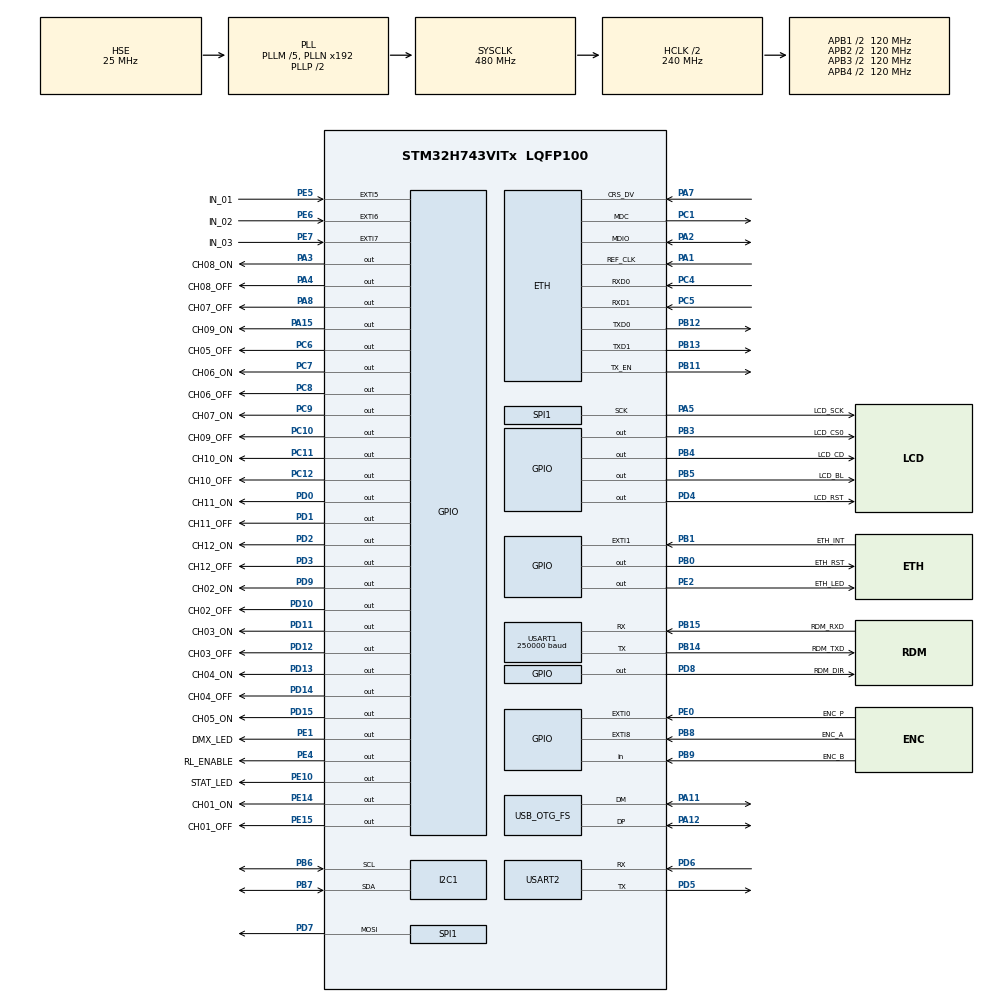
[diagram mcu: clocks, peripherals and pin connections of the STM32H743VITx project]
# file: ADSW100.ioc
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CORTEX_M7.AccessPermission_S-Cortex_Memory_Protection_Unit_Region1_Settings_S=MPU_REGION_FULL_ACCESS
CORTEX_M7.AccessPermission_S-Cortex_Memory_Protection_Unit_Region2_Settings_S=MPU_REGION_FULL_ACCESS
CORTEX_M7.AccessPermission_Spec=MPU_REGION_FULL_ACCESS
CORTEX_M7.BaseAddress_S-Cortex_Memory_Protection_Unit_Region1_Settings_S=0x30000000
CORTEX_M7.BaseAddress_S-Cortex_Memory_Protection_Unit_Region2_Settings_S=0x38000000
CORTEX_M7.BaseAddress_Spec=0x0
CORTEX_M7.CPU_DCache=Disabled
CORTEX_M7.CPU_ICache=Disabled
CORTEX_M7.DisableExec_S-Cortex_Memory_Protection_Unit_Region1_Settings_S=MPU_INSTRUCTION_ACCESS_DISABLE
CORTEX_M7.DisableExec_S-Cortex_Memory_Protection_Unit_Region2_Settings_S=MPU_INSTRUCTION_ACCESS_DISABLE
CORTEX_M7.DisableExec_Spec=MPU_INSTRUCTION_ACCESS_ENABLE
CORTEX_M7.Enable_S-Cortex_Memory_Protection_Unit_Region1_Settings_S=MPU_REGION_ENABLE
CORTEX_M7.Enable_S-Cortex_Memory_Protection_Unit_Region2_Settings_S=MPU_REGION_ENABLE
CORTEX_M7.IsBufferable_S-Cortex_Memory_Protection_Unit_Region1_Settings_S=MPU_ACCESS_NOT_BUFFERABLE
CORTEX_M7.IsBufferable_Spec=MPU_ACCESS_NOT_BUFFERABLE
CORTEX_M7.IsCacheable_S-Cortex_Memory_Protection_Unit_Region1_Settings_S=MPU_ACCESS_NOT_CACHEABLE
CORTEX_M7.IsCacheable_Spec=MPU_ACCESS_CACHEABLE
CORTEX_M7.IsShareable_S-Cortex_Memory_Protection_Unit_Region1_Settings_S=MPU_ACCESS_SHAREABLE
CORTEX_M7.IsShareable_S-Cortex_Memory_Protection_Unit_Region2_Settings_S=MPU_ACCESS_SHAREABLE
CORTEX_M7.IsShareable_Spec=MPU_ACCESS_NOT_SHAREABLE
CORTEX_M7.MPU_Control=__NULL
CORTEX_M7.Size_S-Cortex_Memory_Protection_Unit_Region1_Settings_S=MPU_REGION_SIZE_512KB
CORTEX_M7.Size_S-Cortex_Memory_Protection_Unit_Region2_Settings_S=MPU_REGION_SIZE_64KB
CORTEX_M7.Size_Spec=MPU_REGION_SIZE_4GB
CORTEX_M7.SubRegionDisable_Spec=0x0
CORTEX_M7.TypeExtField_S-Cortex_Memory_Protection_Unit_Region1_Settings_S=MPU_TEX_LEVEL1
CORTEX_M7.TypeExtField_S-Cortex_Memory_Protection_Unit_Region2_Settings_S=MPU_TEX_LEVEL1
CORTEX_M7.TypeExtField_Spec=MPU_TEX_LEVEL1
CORTEX_M7.default_mode_Activation=1
ETH.MediaInterface=HAL_ETH_RMII_MODE
I2C1.Timing=0x307075B1
IWDG1.Prescaler=IWDG_PRESCALER_64
IWDG1.Reload=1000
LWIP.BSP.number=1
LWIP.LWIP_ICMP=1
LWIP.LWIP_IGMP=1
LWIP.LWIP_MULTICAST_TX_OPTIONS=1
LWIP.LWIP_NETIF_STATUS_CALLBACK=1
LWIP.LWIP_RAM_HEAP_POINTER=0x30006000
LWIP.Version=v2.2.1_Cube
LWIP0.BSP.STBoard=false
LWIP0.BSP.api=BSP_COMPONENT_DRIVER
LWIP0.BSP.component=USER_PHY
LWIP0.BSP.instance=USER_PHY
LWIP0.BSP.name=Driver_PHY
LWIP0.BSP.semaphore=S_USER_PHY
LWIP0.BSP.solution=USER_PHY
Mcu.Family=STM32H7
Mcu.Name=STM32H743VITx
Mcu.Package=LQFP100
NVIC.ETH_IRQn=true\:0\:0\:false\:false\:true\:true\:true\:true
NVIC.OTG_FS_IRQn=true\:0\:0\:false\:false\:true\:false\:true\:true
NVIC.PriorityGroup=NVIC_PRIORITYGROUP_4
NVIC.TIM6_DAC_IRQn=true\:0\:0\:false\:false\:true\:true\:true\:true
NVIC.USART1_IRQn=true\:0\:0\:false\:false\:true\:true\:true\:true
PA1.GPIO_Speed=GPIO_SPEED_FREQ_VERY_HIGH
PA1.Mode=RMII
PA1.Signal=ETH_REF_CLK
PA11.Mode=Device_Only
PA11.Signal=USB_OTG_FS_DM
PA12.Mode=Device_Only
PA12.Signal=USB_OTG_FS_DP
PA13\ (JTMS/SWDIO).Mode=Serial_Wire
PA13\ (JTMS/SWDIO).Signal=DEBUG_JTMS-SWDIO
PA14\ (JTCK/SWCLK).Mode=Serial_Wire
PA14\ (JTCK/SWCLK).Signal=DEBUG_JTCK-SWCLK
PA15\ (JTDI).GPIO_Label=CH09_ON
PA15\ (JTDI).Signal=GPIO_Output
PA2.GPIO_Speed=GPIO_SPEED_FREQ_VERY_HIGH
PA2.Mode=RMII
PA2.Signal=ETH_MDIO
PA3.GPIO_Label=CH08_ON
PA3.Signal=GPIO_Output
PA4.GPIO_Label=CH08_OFF
PA4.Signal=GPIO_Output
PA5.GPIO_Label=LCD_SCK
PA5.Mode=TX_Only_Simplex_Unidirect_Master
PA5.Signal=SPI1_SCK
PA7.GPIO_Speed=GPIO_SPEED_FREQ_VERY_HIGH
PA7.Mode=RMII
PA7.Signal=ETH_CRS_DV
PA8.GPIO_Label=CH07_OFF
PA8.Signal=GPIO_Output
PB0.GPIO_Label=ETH_RST
PB0.PinState=GPIO_PIN_SET
PB0.Signal=GPIO_Output
PB1.GPIO_Label=ETH_INT
PB1.GPIO_ModeDefaultEXTI=GPIO_MODE_IT_FALLING
PB1.GPIO_PuPd=GPIO_PULLUP
PB1.Signal=GPXTI1
PB11.GPIO_Speed=GPIO_SPEED_FREQ_VERY_HIGH
PB11.Mode=RMII
PB11.Signal=ETH_TX_EN
PB12.GPIO_Speed=GPIO_SPEED_FREQ_VERY_HIGH
PB12.Mode=RMII
PB12.Signal=ETH_TXD0
PB13.GPIO_Speed=GPIO_SPEED_FREQ_VERY_HIGH
PB13.Mode=RMII
PB13.Signal=ETH_TXD1
PB14.GPIO_Label=RDM_TXD
PB14.Mode=Asynchronous
PB14.Signal=USART1_TX
PB15.GPIO_Label=RDM_RXD
PB15.Mode=Asynchronous
PB15.Signal=USART1_RX
PB3\ (JTDO/TRACESWO).GPIO_Label=LCD_CS0
PB3\ (JTDO/TRACESWO).Signal=GPIO_Output
PB4\ (NJTRST).GPIO_Label=LCD_CD
PB4\ (NJTRST).Signal=GPIO_Output
PB5.GPIO_Label=LCD_BL
PB5.Signal=GPIO_Output
PB6.Mode=I2C
PB6.Signal=I2C1_SCL
PB7.Mode=I2C
PB7.Signal=I2C1_SDA
PB8.GPIO_Label=ENC_A
PB8.GPIO_ModeDefaultEXTI=GPIO_MODE_IT_FALLING
PB8.GPIO_PuPd=GPIO_PULLUP
PB8.Signal=GPXTI8
PB9.GPIO_Label=ENC_B
PB9.Signal=GPIO_Input
PC1.GPIO_Speed=GPIO_SPEED_FREQ_VERY_HIGH
PC1.Mode=RMII
PC1.Signal=ETH_MDC
PC10.GPIO_Label=CH09_OFF
PC10.Signal=GPIO_Output
PC11.GPIO_Label=CH10_ON
PC11.Signal=GPIO_Output
PC12.GPIO_Label=CH10_OFF
PC12.Signal=GPIO_Output
PC4.GPIO_Speed=GPIO_SPEED_FREQ_VERY_HIGH
PC4.Mode=RMII
PC4.Signal=ETH_RXD0
PC5.GPIO_Speed=GPIO_SPEED_FREQ_VERY_HIGH
PC5.Mode=RMII
PC5.Signal=ETH_RXD1
PC6.GPIO_Label=CH05_OFF
PC6.Signal=GPIO_Output
PC7.GPIO_Label=CH06_ON
PC7.Signal=GPIO_Output
PC8.GPIO_Label=CH06_OFF
PC8.Signal=GPIO_Output
PC9.GPIO_Label=CH07_ON
PC9.Signal=GPIO_Output
PD0.GPIO_Label=CH11_ON
PD0.Signal=GPIO_Output
PD1.GPIO_Label=CH11_OFF
PD1.Signal=GPIO_Output
PD10.GPIO_Label=CH02_OFF
PD10.Signal=GPIO_Output
PD11.GPIO_Label=CH03_ON
PD11.Signal=GPIO_Output
PD12.GPIO_Label=CH03_OFF
PD12.Signal=GPIO_Output
PD13.GPIO_Label=CH04_ON
PD13.Signal=GPIO_Output
PD14.GPIO_Label=CH04_OFF
PD14.Signal=GPIO_Output
PD15.GPIO_Label=CH05_ON
PD15.Signal=GPIO_Output
PD2.GPIO_Label=CH12_ON
PD2.Signal=GPIO_Output
PD3.GPIO_Label=CH12_OFF
PD3.Signal=GPIO_Output
PD4.GPIO_Label=LCD_RST
PD4.Signal=GPIO_Output
PD5.Mode=Asynchronous
PD5.Signal=USART2_TX
PD6.Mode=Asynchronous
PD6.Signal=USART2_RX
PD7.Mode=TX_Only_Simplex_Unidirect_Master
PD7.Signal=SPI1_MOSI
PD8.GPIO_Label=RDM_DIR
PD8.Signal=GPIO_Output
PD9.GPIO_Label=CH02_ON
PD9.Signal=GPIO_Output
PE0.GPIO_Label=ENC_P
PE0.GPIO_ModeDefaultEXTI=GPIO_MODE_IT_FALLING
PE0.GPIO_PuPd=GPIO_PULLUP
PE0.Signal=GPXTI0
PE1.GPIO_Label=DMX_LED
PE1.Signal=GPIO_Output
PE10.GPIO_Label=STAT_LED
PE10.Signal=GPIO_Output
PE14.GPIO_Label=CH01_ON
PE14.Signal=GPIO_Output
PE15.GPIO_Label=CH01_OFF
PE15.Signal=GPIO_Output
PE2.GPIO_Label=ETH_LED
PE2.Signal=GPIO_Output
PE4.GPIO_Label=RL_ENABLE
PE4.Signal=GPIO_Output
PE5.GPIO_Label=IN_01
PE5.Signal=GPXTI5
PE6.GPIO_Label=IN_02
PE6.Signal=GPXTI6
PE7.GPIO_Label=IN_03
PE7.Signal=GPXTI7
PH0-OSC_IN\ (PH0).Mode=HSE-External-Oscillator
PH0-OSC_IN\ (PH0).Signal=RCC_OSC_IN
PH1-OSC_OUT\ (PH1).Mode=HSE-External-Oscillator
PH1-OSC_OUT\ (PH1).Signal=RCC_OSC_OUT
ProjectManager.HeapSize=0x200
ProjectManager.StackSize=0x400
ProjectManager.TargetToolchain=STM32CubeIDE
RCC.ADCFreq_Value=50390625
RCC.APB1Freq_Value=120000000
RCC.APB2Freq_Value=120000000
RCC.APB3Freq_Value=120000000
RCC.APB4Freq_Value=120000000
RCC.CortexFreq_Value=480000000
RCC.D1PPRE=RCC_APB3_DIV2
RCC.D2PPRE1=RCC_APB1_DIV2
RCC.D2PPRE2=RCC_APB2_DIV2
RCC.D3PPRE=RCC_APB4_DIV2
RCC.DIVM1=5
RCC.DIVN1=192
RCC.DIVQ1=15
RCC.HCLKFreq_Value=240000000
RCC.HPRE=RCC_HCLK_DIV2
RCC.PLL2FRACN=0
RCC.PLL3FRACN=0
RCC.PLLFRACN=0
RCC.PLLSourceVirtual=RCC_PLLSOURCE_HSE
RCC.SYSCLKFreq_VALUE=480000000
RCC.SYSCLKSource=RCC_SYSCLKSOURCE_PLLCLK
RCC.USBCLockSelection=RCC_USBCLKSOURCE_HSI48
RCC.USBFreq_Value=48000000
SPI1.BaudRatePrescaler=SPI_BAUDRATEPRESCALER_4
SPI1.CRCCalculation=SPI_CRCCALCULATION_DISABLE
SPI1.CalculateBaudRate=16.0 MBits/s
SPI1.DataSize=SPI_DATASIZE_8BIT
SPI1.Direction=SPI_DIRECTION_2LINES_TXONLY
SPI1.Mode=SPI_MODE_MASTER
SPI1.NSSPMode=SPI_NSS_PULSE_ENABLE
SPI1.VirtualType=VM_MASTER
TIM6.Period=999
TIM6.Prescaler=239
USART1.BaudRate=250000
USART1.Parity=PARITY_NONE
USART1.StopBits=STOPBITS_2
USART1.VirtualMode-Asynchronous=VM_ASYNC
USART1.WordLength=WORDLENGTH_8B
USART2.VirtualMode-Asynchronous=VM_ASYNC
USB_DEVICE.CLASS_NAME_FS=CDC
USB_DEVICE.VirtualMode-CDC_FS=Cdc
USB_DEVICE.VirtualModeFS=Cdc_FS
USB_OTG_FS.VirtualMode=Device_Only
VP_IWDG1_VS_IWDG.Mode=IWDG_Activate
VP_LWIP_VS_Enabled.Mode=Enabled
VP_MEMORYMAP_VS_MEMORYMAP.Mode=CurAppReg
VP_RTC_VS_RTC_Activate.Mode=RTC_Enabled
VP_TIM6_VS_ClockSourceINT.Mode=Enable_Timer
VP_USB_DEVICE_VS_USB_DEVICE_CDC_FS.Mode=CDC_FS
board=custom

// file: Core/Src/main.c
/* USER CODE BEGIN Header */
/**
  ******************************************************************************
  * @file           : main.c
  * @brief          : Main program body
  ******************************************************************************
  * @attention
  *
  * Copyright (c) 2025 STMicroelectronics.
  * All rights reserved.
  *
  * This software is licensed under terms that can be found in the LICENSE file
  * in the root directory of this software component.
  * If no LICENSE file comes with this software, it is provided AS-IS.
  *
  ******************************************************************************
  */
/* USER CODE END Header */
#include "main.h"
#include "i2c.h"
#include "iwdg.h"
#include "lwip.h"
#include "rtc.h"
#include "spi.h"
#include "tim.h"
#include "usart.h"
#include "usb_device.h"
#include "gpio.h"

/* USER CODE BEGIN Includes */
#include "defs.h"
#include "h_files.h"
#include "lwip/ip4_addr.h"
#include "stm32h7xx_hal_eth.h"

#include <stdio.h>

#ifndef ETH_MAC_ADDRESS0
#define ETH_MAC_ADDRESS0 0U
#endif

/* USER CODE END Includes */

/* USER CODE BEGIN PV */
volatile bool timer_1ms_flag = false;

extern ETH_HandleTypeDef heth;			// handle ETH generato da Cube

extern volatile uint8_t g_use_dhcp;		// definita in network.c

extern struct netif gnetif;

static uint32_t lcd_inactivity_s = 0;

extern ETH_DMADescTypeDef DMARxDscrTab[ETH_RX_DESC_CNT];
extern u8_t memp_memory_RX_POOL_base[];

/* USER CODE END PV */

void SystemClock_Config(void);

/* USER CODE BEGIN 0 */

static void MPU_Config(void)
{
    MPU_Region_InitTypeDef MPU_InitStruct = {0};

    /* Disabilita MPU prima di configurare */
    HAL_MPU_Disable();

    /* --- REGIONE 0: D1 SRAM (0x24000000, 512KB) - cacheable -------------------- */
    MPU_InitStruct.Enable           = MPU_REGION_ENABLE;
    MPU_InitStruct.Number           = MPU_REGION_NUMBER0;
    MPU_InitStruct.BaseAddress      = 0x24000000;
    MPU_InitStruct.Size             = MPU_REGION_SIZE_512KB;
    MPU_InitStruct.SubRegionDisable = 0x00;
    MPU_InitStruct.TypeExtField     = MPU_TEX_LEVEL1;   // Normal memory
    MPU_InitStruct.AccessPermission = MPU_REGION_FULL_ACCESS;
    MPU_InitStruct.DisableExec      = MPU_INSTRUCTION_ACCESS_ENABLE;
    MPU_InitStruct.IsShareable      = MPU_ACCESS_NOT_SHAREABLE;
    MPU_InitStruct.IsCacheable      = MPU_ACCESS_CACHEABLE;
    MPU_InitStruct.IsBufferable     = MPU_ACCESS_BUFFERABLE;
    HAL_MPU_ConfigRegion(&MPU_InitStruct);

    /* --- REGIONE 1: D2 SRAM (0x30000000, 256KB) - NON CACHEABLE (ETH/DMA) ------ */
    MPU_InitStruct.Enable           = MPU_REGION_ENABLE;
    MPU_InitStruct.Number           = MPU_REGION_NUMBER1;
    MPU_InitStruct.BaseAddress      = 0x30000000;
    MPU_InitStruct.Size             = MPU_REGION_SIZE_256KB;  // SRAM1+SRAM2
    MPU_InitStruct.SubRegionDisable = 0x00;
    MPU_InitStruct.TypeExtField     = MPU_TEX_LEVEL1;   // Normal memory
    MPU_InitStruct.AccessPermission = MPU_REGION_FULL_ACCESS;
    MPU_InitStruct.DisableExec      = MPU_INSTRUCTION_ACCESS_ENABLE;
    MPU_InitStruct.IsShareable      = MPU_ACCESS_SHAREABLE;
    MPU_InitStruct.IsCacheable      = MPU_ACCESS_NOT_CACHEABLE;
    MPU_InitStruct.IsBufferable     = MPU_ACCESS_NOT_BUFFERABLE;
    HAL_MPU_ConfigRegion(&MPU_InitStruct);

    /* --- REGIONE 2: D3 SRAM (0x38000000, 64KB) - NON CACHEABLE (.noinit, ecc.) -- */
    MPU_InitStruct.Enable           = MPU_REGION_ENABLE;
    MPU_InitStruct.Number           = MPU_REGION_NUMBER2;
    MPU_InitStruct.BaseAddress      = 0x38000000;
    MPU_InitStruct.Size             = MPU_REGION_SIZE_64KB;   // D3 SRAM = 64KB
    MPU_InitStruct.SubRegionDisable = 0x00;
    MPU_InitStruct.TypeExtField     = MPU_TEX_LEVEL1;   // Normal memory
    MPU_InitStruct.AccessPermission = MPU_REGION_FULL_ACCESS;
    MPU_InitStruct.DisableExec      = MPU_INSTRUCTION_ACCESS_ENABLE;
    MPU_InitStruct.IsShareable      = MPU_ACCESS_SHAREABLE;
    MPU_InitStruct.IsCacheable      = MPU_ACCESS_NOT_CACHEABLE;
    MPU_InitStruct.IsBufferable     = MPU_ACCESS_NOT_BUFFERABLE;
    HAL_MPU_ConfigRegion(&MPU_InitStruct);

    /* Abilita MPU con default privilegiato */
    HAL_MPU_Enable(MPU_PRIVILEGED_DEFAULT);
}

const char *ResetTag_ToString(reset_tag_t tag)
{
    switch (tag) {
    case RST_TAG_NONE:       return "None";
    case RST_TAG_HARDFAULT:  return "HardFault";
    case RST_TAG_MEMFAULT:   return "MemFault";
    case RST_TAG_BUSFAULT:   return "BusFault";
    case RST_TAG_USAGEFAULT: return "UsageFault";
    case RST_TAG_HFR:        return "HardFactoryReset";
    case RST_TAG_ERRORH:     return "Error_Handler";
    default:                 return "Unknown";
    }
}

reset_tag_t ResetTag_Read(void)
{
    uint32_t raw = RTC->BKP0R;
    if (raw > RST_TAG_ERRORH) return RST_TAG_NONE;
    return (reset_tag_t)raw;
}

void ResetTag_Write(reset_tag_t tag)
{
    RTC->BKP0R = (uint32_t)tag;
    __DSB();
    __ISB();
}

reset_crash_info_t ResetTag_ReadCrashInfo(void)
{
    reset_crash_info_t info;
    info.pc = RTC->BKP1R;   // PC salvato
    info.lr = RTC->BKP2R;   // LR salvato
    return info;
}

void ResetTag_ClearCrashInfo(void)
{
    RTC->BKP1R = 0;
    RTC->BKP2R = 0;
    __DSB();
    __ISB();
}

void ResetTag_SaveCrashInfo(uint32_t pc, uint32_t lr)
{
    RTC->BKP1R = pc;
    RTC->BKP2R = lr;
    __DSB();
    __ISB();
}

static int is_plausible_eui48(const uint8_t *m)
{
    uint8_t acc_or = 0, acc_and = 0xFF;

    for (int i=0; i<6; i++)
    {
    	acc_or |= m[i];
    	acc_and &= m[i];
    }

    if (acc_or == 0x00 || acc_and == 0xFF) return 0;  // tutti 00 o tutti FF
    if (m[0] & 0x01) return 0;                        // deve essere unicast
    return 1;
}

static int is_plausible_eui64(const uint8_t *v)
{
    uint8_t acc_or = 0, acc_and = 0xFF;

    for (int i=0;i<8;i++)
    {
    	acc_or |= v[i];
    	acc_and &= v[i];
    }

    if (acc_or == 0x00 || acc_and == 0xFF) return 0;  // tutti 00 o tutti FF
    return 1; // accetta sia canonical (…FF:FE…) sia non-canonical
}

/* Diagnostica boot: sola RAM, nessuna modifica a protezione o EEPROM. */
typedef struct
{
    uint32_t reset, vtor, msp, mask, control, ipsr;
    uint32_t error, state, lock, isr, cr1, lines;
    HAL_StatusTypeDef magic_status, config_status;
    uint16_t magic;
    uint8_t stage, mac_source;
    bool magic_attempted, config_attempted;
} startup_diagnostic_t;
static startup_diagnostic_t startup_diag;

/* Main prima di HAL_Init; SystemInit e startup C sono già stati eseguiti. */
static void Startup_RecordEntry(void)
{
    startup_diag.reset = RCC->RSR;
    startup_diag.vtor = SCB->VTOR;
    startup_diag.msp = __get_MSP();
    startup_diag.mask = __get_PRIMASK() | (__get_BASEPRI() << 8);
    startup_diag.control = __get_CONTROL();
    startup_diag.ipsr = __get_IPSR();
}

/* CDC anche nel blocco di avvio: nessun I/O I2C, solo esiti già acquisiti.
   Stage:0 ingresso main,1 check HW,2 lettura INIT,3 INIT valido,4 token,5 I/O,6 attesa finale. */
void Startup_FormatDiagnostics(char *out, size_t capacity)
{
    char magic[5] = "----";
    if (startup_diag.magic_attempted && startup_diag.magic_status == HAL_OK)
    {
        snprintf(magic, sizeof magic, "%04X", startup_diag.magic);
    }
    snprintf(out, capacity, "boot stage=%u rc=%d magic=%s cfg=%d mac=%u brand_ram=%u reset=%08lX VTOR=%08lX MSP=%08lX mask=%08lX control=%lX ipsr=%lu hal=%lX lock=%lu err=%lX ISR=%08lX CR1=%08lX lines=%lu\r\n",
             startup_diag.stage, startup_diag.magic_attempted ? (int)startup_diag.magic_status : -1,
             magic, startup_diag.config_attempted ? (int)startup_diag.config_status : -1,
             startup_diag.mac_source, brand, (unsigned long)startup_diag.reset,
             (unsigned long)startup_diag.vtor, (unsigned long)startup_diag.msp,
             (unsigned long)startup_diag.mask, (unsigned long)startup_diag.control,
             (unsigned long)startup_diag.ipsr, (unsigned long)startup_diag.state,
             (unsigned long)startup_diag.lock, (unsigned long)startup_diag.error,
             (unsigned long)startup_diag.isr, (unsigned long)startup_diag.cr1, (unsigned long)startup_diag.lines);
}

void hardware_check(void)
{
	uint8_t e48[6] = {0};
	uint8_t e64[8] = {0};
	uint8_t mac[6];

	USB_Printf("\r\n=== Hardware Check ===\r\n");

    startup_diag.stage = 1;
    EE_BusScan();     // mostra i device sul bus
    EE_DumpTail();    // dump 0xF0..0xFF per diagnosi rapida

    // 1) Ping EEPROM I2C (indirizzo 7-bit definito in EE_I2C_ADDR_7B)

    if (HAL_I2C_IsDeviceReady(&hi2c1, EE_I2C_ADDR_7B << 1, 2, 10) != HAL_OK)
    {
        USB_Printf("EEPROM: NOT FOUND at 0x%02X\n", EE_I2C_ADDR_7B);
        USB_Printf("=== End HW Check ===\n");
        return;
    }
    USB_Printf("EEPROM: found at 0x%02X\n", EE_I2C_ADDR_7B);

    // 2) Rilevamento EUI: prima E48 (0xFA..0xFF), poi E64 (0xF8..0xFF)

    int have_e48 = (EE_Read(0xFA, e48, 6) == HAL_OK) && is_plausible_eui48(e48);
    int have_e64 = (EE_Read(0xF8, e64, 8) == HAL_OK) && is_plausible_eui64(e64);

    startup_diag.mac_source = have_e48 ? 1 : have_e64 ? 2 : 3;
    if (have_e48)
    {
        USB_Printf("EEPROM 24AA025E48: OK (EUI-48 @0xFA)\n");
        USB_Printf("EUI-48: %02X-%02X-%02X-%02X-%02X-%02X\n",
                   e48[0],e48[1],e48[2],e48[3],e48[4],e48[5]);
    }
    else if (have_e64)
    {
        USB_Printf("EEPROM 24AA02E64: OK (EUI-64 @0xF8)\n");
        USB_Printf("EUI-64: %02X-%02X-%02X-%02X-%02X-%02X-%02X-%02X\n",
                   e64[0],e64[1],e64[2],e64[3],e64[4],e64[5],e64[6],e64[7]);
    }
    else
    {
        USB_Printf("EEPROM: no EUI found (neither E48 nor E64 plausible)\n");
    }

    // 3) MAC-48 locale per la NIC (preferisci E48; se assente, E64 derivato; altrimenti LAA)

    if (EE_GetLocalMAC48(mac) == HAL_OK)
    {
        USB_Printf("MAC-48 (source: %s): %02X:%02X:%02X:%02X:%02X:%02X\n",
                   have_e48 ? "E48" : (have_e64 ? "E64-derived" : "LAA"),
                   mac[0],mac[1],mac[2],mac[3],mac[4],mac[5]);
    }
    else
    {
        USB_Printf("MAC-48: ERROR (no valid source)\n");
    }

    // 4) Config EEPROM

    startup_diag.config_attempted = true;
    startup_diag.config_status = EE_LoadConfig();
    if (startup_diag.config_status == HAL_OK)
    {
        USB_Printf("Configuration loaded\n");
    }
    else
    {
        USB_Printf("EE_LoadConfig FAILED\n");
    }

    // NFC test

    /* NFC avviato dopo identità RDM; nessuna lettura JSON legacy. */

    LAN9303_DumpLedCfg();

    USB_Printf("=== End HW Check ===\n");
}

void LCD_Backlight_Wake(void)
{
    lcd_inactivity_s = 0;
    HAL_GPIO_WritePin(LCD_BL_GPIO_Port, LCD_BL_Pin, GPIO_PIN_SET);
}

void LCD_Backlight_Service(void)
{
    // Se modalità "sempre accesa"
    if (lcd_backlight > 0)
    {
        HAL_GPIO_WritePin(LCD_BL_GPIO_Port, LCD_BL_Pin, GPIO_PIN_SET);
        lcd_inactivity_s = 0;
        return;
    }

    // Modalità auto-off
    if (lcd_inactivity_s >= 30)
    {
        HAL_GPIO_WritePin(LCD_BL_GPIO_Port, LCD_BL_Pin, GPIO_PIN_RESET); // spegni
    }
    else
    {
        HAL_GPIO_WritePin(LCD_BL_GPIO_Port, LCD_BL_Pin, GPIO_PIN_SET);   // accesa
        lcd_inactivity_s++;
    }
}

void task_1ms(void)
{
	static uint16_t counter_10ms = 0, link_tick_100ms = 0, counter_3s = 0, counter_1s;
	static uint16_t iwdg_div = 0;

	HAL_GPIO_TogglePin(RL_ENABLE_GPIO_Port, RL_ENABLE_Pin);  // Toggle pin watchdog 74LVC1G123

	RelayTask();
	EncoderTask();
	NetworkTask();

    if (++counter_10ms >= 10)
    {
    	counter_10ms = 0;
    	UserInterfaceTask();

    }

	if (++link_tick_100ms >= 100)
	{
		link_tick_100ms = 0;
		Network_LinkCheck_100ms();
	}

    if (++counter_1s >= 1000)
    {
        counter_1s = 0;

        //RTC_ShowTime_OnLCD();

        //NFC_Service();

        LCD_Backlight_Service();

        // --- Stato rete corrente: SOLO da LAN9303 (PHY), non da netif ---
        extern int32_t LAN9303_GetLinkState(void);

        int32_t st = LAN9303_GetLinkState();

        bool link_up = false;

        switch (st)
        {
            case USER_PHY_STATUS_100MBITS_FULLDUPLEX:
            case USER_PHY_STATUS_100MBITS_HALFDUPLEX:
            case USER_PHY_STATUS_10MBITS_FULLDUPLEX:
            case USER_PHY_STATUS_10MBITS_HALFDUPLEX:
                link_up = true;
                break;

            case USER_PHY_STATUS_LINK_DOWN:
            case USER_PHY_STATUS_AUTONEGO_NOTDONE:
            case USER_PHY_STATUS_READ_ERROR:
            case USER_PHY_STATUS_WRITE_ERROR:
            case USER_PHY_STATUS_ADDRESS_ERROR:
            case USER_PHY_STATUS_RESET_TIMEOUT:
            case USER_PHY_STATUS_ERROR:
            default:
                link_up = false;
                break;
        }

        uint32_t ip_be = netif_ip4_addr(&gnetif)->addr;   // formato big-endian

        // Cache per evitare ridisegni inutili
        static bool     prev_link = false;
        static uint32_t prev_ip   = 0;

        if (link_up != prev_link || ip_be != prev_ip)
        {
            UI_OnNetRuntime(link_up, ip_be);
            prev_link = link_up;
            prev_ip   = ip_be;
        }

        Network_DiagTick_1s();
    }

	if (++counter_3s >= 3000)
	{
		counter_3s = 0;
		LAN9303_Port0RxErrorsDelta();
	}
	// ===== Refresh IWDG ogni ~100ms =====
	    if (++iwdg_div >= 100)    // 100 chiamate * 1ms = 100ms
	    {
	        iwdg_div = 0;
	        HAL_IWDG_Refresh(&hiwdg1);
	    }
}

// Inizializza il sistema
// Reset esplicito: true preserva identità di fabbrica; NTAG riallineato ai default utente.
void HardFactoryReset(bool preserve_identity)
{
    // 1) EEPROM ai default
    if (EE_InitWithNfc(preserve_identity) == HAL_OK)
        USB_Printf("HFR: EEPROM defaults OK\r\n");
    else
    {
        USB_Printf("HFR: EE_InitMemory() FAILED\r\n");
        return;
    }

    // 2) Ricarica i default in RAM soltanto dopo lettura verificata.
    if (EE_LoadConfig() != HAL_OK)
    {
        USB_Printf("HFR: EEPROM reload FAILED\r\n");
        return;
    }

    /* Il servizio NFC completerà dopo reboot l’intento Init persistente,
       senza cancellare contenuti estranei o modificare UID/lock. */

    USB_Printf("HFR: completed, system will reboot now...\r\n");
    HAL_Delay(100);

    ResetTag_Write(RST_TAG_HFR);

    HAL_Delay(10);

    NVIC_SystemReset();
}

/* ========== Unlock nuovo dispositivo (FGM+MAC) ========== */

static void mac_to_hex_nosep(const uint8_t mac[6], char out[13])
{
  static const char H[] = "0123456789ABCDEF";
  for (int i=0; i<6; i++)
  {
    out[i*2+0] = H[(mac[i]>>4) & 0xF];
    out[i*2+1] = H[ mac[i]     & 0xF];
  }
  out[12] = 0;
}

/* Ritorna 1 = ok (prosegui boot), 0 = bloccato */
static int Startup_SimpleUnlock(void)
{
  /* EE_ReadU16 confonde un errore I/O con il valore0: qui serve l'esito HAL.
     Un bus illeggibile non autorizza provisioning, reset o scritture EEPROM. */
  uint8_t init[2] = {0};
  startup_diag.stage = 2;
  startup_diag.magic_attempted = true;
  startup_diag.magic_status = EE_Read(EE_OFFS_INIT, init, sizeof init);
  startup_diag.magic = (uint16_t)((uint16_t)init[0] << 8 | init[1]);
  startup_diag.error = hi2c1.ErrorCode;
  startup_diag.state = HAL_I2C_GetState(&hi2c1);
  startup_diag.lock = hi2c1.Lock;
  startup_diag.isr = hi2c1.Instance->ISR;
  startup_diag.cr1 = hi2c1.Instance->CR1;
  startup_diag.lines = (GPIOB->IDR >> 6) & 3u;
  if (startup_diag.magic_status != HAL_OK)
  {
    startup_diag.stage = 5;
    LCD_Clear();
    LCD_DrawText("EEPROM read error", 0, 20, 0, 0, 0);
    USB_Printf("EEPROM read failed: rc=%u; boot? / i2c? / ee?\r\n", startup_diag.magic_status);
    while (1)
    {
      char diagnostic_line[160];
      HAL_IWDG_Refresh(&hiwdg1);
      /* Solo query diagnostiche gestite dal reader; nessun token è applicato. */
      (void)USB_ReadLineTimeout(diagnostic_line, sizeof diagnostic_line, 50);
    }
  }
  if (startup_diag.magic == EE_INIT_VALUE)
  {
    startup_diag.stage = 3;
    return 1;
  }
  startup_diag.stage = 4;

  /* calcola stringa attesa: "FGM" + MAChex */
  uint8_t mac[6]; EE_GetLocalMAC48(mac);
  char mac_hex[13]; mac_to_hex_nosep(mac, mac_hex);

  char expected[4+12]; /* "FGM" + 12 */
  expected[0]='F'; expected[1]='G'; expected[2]='M'; expected[3]=0;
  strcat(expected, mac_hex);

  /* UX: messaggi */
  USB_Printf("\r\n=== Bootloader Ready ===\r\n");
  USB_Printf("wait for boot sequence:\r\n");
  USB_Printf("  %s\r\n", mac_hex);

  LCD_Clear();
  LCD_DrawText(Brand_Current()->manufacturer, 0, 0, 0, 0, 0);
  LCD_DrawText("Wait for boot", 0, 20, 0, 0, 0);

  /* aspetta una riga per 30s */
  extern int USB_ReadLineTimeout(char *out, size_t maxlen, uint32_t timeout_ms);
  char line[128];
  uint32_t t0 = HAL_GetTick();
  while ((HAL_GetTick() - t0) < 30000U)
  {
    HAL_IWDG_Refresh(&hiwdg1);

    int n = USB_ReadLineTimeout(line, sizeof(line), 50);
    if (n > 0)
    {
      while (n>0 && (line[n-1]==' ')) { line[--n]=0; }
      char *p = line; while (*p==' ') p++;

      if (strcmp(p, expected) == 0)
      {
        HardFactoryReset(false);
        USB_Printf("Unlock FAILED: factory reset returned without reboot.\r\n");
        return 0;
      }
      else
      {
        USB_Printf("Bad token");
      }
    }
  }

  /* timeout -> fermo in attesa firmware */
  startup_diag.stage = 6;
  USB_Printf("Ready for firmware\r\n");
  while (1)
  {
	  HAL_IWDG_Refresh(&hiwdg1);
    char diagnostic_line[160];
    (void)USB_ReadLineTimeout(diagnostic_line, sizeof diagnostic_line, 50);
    /* aggiungere qui eventuale bootloader/DFU */
  }
  /* never */
  // return 0;
}

void HAL_TIM_PeriodElapsedCallback(TIM_HandleTypeDef *htim)
{
    if (htim->Instance == TIM6)
    {
        // Tick applicativo a 1ms
        Relay_PulseService1ms();
        timer_1ms_flag = true;
    }
}

void LogAndClearResetFlags(void)
{
    uint32_t r = RCC->RSR;

    int iwdg = (r & RCC_RSR_IWDG1RSTF) ? 1 : 0;
    int wwdg = (r & RCC_RSR_WWDG1RSTF) ? 1 : 0;
    int pin  = (r & RCC_RSR_PINRSTF)   ? 1 : 0;
    int bor  = (r & RCC_RSR_BORRSTF)   ? 1 : 0;
    int sft  = (r & RCC_RSR_SFTRSTF)   ? 1 : 0;
    int lpwr = (r & RCC_RSR_LPWRRSTF)  ? 1 : 0;

    USB_Printf("Reset flags: IWDG=%d WWDG=%d PIN=%d BOR=%d SFT=%d LPWR=%d\r\n",
               iwdg, wwdg, pin, bor, sft, lpwr);

    __HAL_RCC_CLEAR_RESET_FLAGS();
}

/*
void HAL_GPIO_EXTI_Callback(uint16_t GPIO_Pin)
{

}
*/

/* USER CODE END 0 */

int main(void)
{

  /* USER CODE BEGIN 1 */
  Startup_RecordEntry();

	MPU_Config();
	SCB_EnableICache();
	SCB_EnableDCache();

  /* USER CODE END 1 */

  /* MCU Configuration--------------------------------------------------------*/

  /* Reset of all peripherals, Initializes the Flash interface and the Systick. */
  HAL_Init();

  /* Configure the system clock */
  SystemClock_Config();

  /* Initialize all configured peripherals */
  MX_GPIO_Init();
  MX_I2C1_Init();
  MX_SPI1_Init();
  MX_USART1_UART_Init();
  MX_USART2_UART_Init();
  MX_USB_DEVICE_Init();
  MX_TIM6_Init();
  MX_IWDG1_Init();
  MX_LWIP_Init();
  MX_RTC_Init();
  /* USER CODE BEGIN 2 */
  NFC_RecordBoot(1, RCC->RSR);

  HAL_TIM_Base_Start_IT(&htim6); // abilita interrupt timer 6 (1mS)

  uint32_t t0 = HAL_GetTick();
  while ((HAL_GetTick() - t0) < 1000)
  {
	  HAL_IWDG_Refresh(&hiwdg1);
  }

  reset_tag_t last_tag = ResetTag_Read();

  USB_Printf("\r\n*** BOOT START ***\r\n");

  USB_Printf("Last reset tag: %d -> %s\r\n",
             (int)last_tag, ResetTag_ToString(last_tag));

  USB_Printf("DMARxDscrTab @ %08lX\r\n", (unsigned)&DMARxDscrTab[0]);
  USB_Printf("RX_POOL base @ %08lX\r\n", (unsigned)memp_memory_RX_POOL_base);

  LogAndClearResetFlags();

  ResetTag_Write(RST_TAG_NONE);

  if (last_tag == RST_TAG_HARDFAULT ||
      last_tag == RST_TAG_MEMFAULT  ||
      last_tag == RST_TAG_BUSFAULT  ||
      last_tag == RST_TAG_USAGEFAULT)
  {
      reset_crash_info_t ci = ResetTag_ReadCrashInfo();
      USB_Printf("Crash context: PC=%08lX LR=%08lX\r\n", (unsigned)ci.pc, (unsigned)ci.lr);
      ResetTag_ClearCrashInfo();
  }
  else
  {
      ResetTag_ClearCrashInfo();
  }

  LCD_Init();          // inizializza HW
  LCD_Clear();         // pulisci RAM
  RTC_I2C_Init();
  NFC_RecordBoot(2, 0);

  InitDMX512(&huart1);
  InitRelay();
  InitUserInterface();

  // Diagnostica EEPROM / MAC / cfg
  hardware_check();
  NFC_RecordBoot(3, 0);

  // Verifica NFC
  /* NFC inizializzato dopo RDM_Init. */

  // Cancella locazione Init per test !!!

  //EE_WriteU16(EE_OFFS_INIT, 0)
  //while(1){HAL_IWDG_Refresh(&hiwdg1);}

  // Esegue check all'avvio per protezione firmware

  if (!Startup_SimpleUnlock())
  {
	while(1)
	{
		HAL_IWDG_Refresh(&hiwdg1);
	}
  }

  // Post-LwIP (callback, DNS, ecc.)
  Network_InitAfterLwip();
  RDM_Init();
  NFC_Init();
  NFC_RecordBoot(4, 0);

  ETH_PrintMemMap(); // invia per debug descrittori e RX pool

  USB_Printf("STM32 USB Debug ready!");

  USB_Printf("System ready!");

  HAL_GPIO_WritePin(LCD_BL_GPIO_Port, LCD_BL_Pin, GPIO_PIN_SET);

  /* USER CODE END 2 */

  /* Infinite loop */
  /* USER CODE BEGIN WHILE */

  while (1)
  {
      DMX512_Service();
      RDM_Task();
      USB_ServiceTask();
      NFC_Service();
	  if (timer_1ms_flag)
	  {
		  timer_1ms_flag = false;
		  task_1ms();
	  }

	  MX_LWIP_Process();   // gestisce TCP/IP, DHCP, ecc.
	  NET_PollApply();     // esegue apply sACN "in contesto lwIP"

    /* USER CODE END WHILE */

  }
}

void SystemClock_Config(void)
{
  RCC_OscInitTypeDef RCC_OscInitStruct = {0};
  RCC_ClkInitTypeDef RCC_ClkInitStruct = {0};

  /** Supply configuration update enable
  */
  HAL_PWREx_ConfigSupply(PWR_LDO_SUPPLY);

  /** Configure the main internal regulator output voltage
  */
  __HAL_PWR_VOLTAGESCALING_CONFIG(PWR_REGULATOR_VOLTAGE_SCALE0);

  while(!__HAL_PWR_GET_FLAG(PWR_FLAG_VOSRDY)) {}

  /** Initializes the RCC Oscillators according to the specified parameters
  * in the RCC_OscInitTypeDef structure.
  */
  RCC_OscInitStruct.OscillatorType = RCC_OSCILLATORTYPE_HSI48|RCC_OSCILLATORTYPE_LSI
                              |RCC_OSCILLATORTYPE_HSE;
  RCC_OscInitStruct.HSEState = RCC_HSE_ON;
  RCC_OscInitStruct.LSIState = RCC_LSI_ON;
  RCC_OscInitStruct.HSI48State = RCC_HSI48_ON;
  RCC_OscInitStruct.PLL.PLLState = RCC_PLL_ON;
  RCC_OscInitStruct.PLL.PLLSource = RCC_PLLSOURCE_HSE;
  RCC_OscInitStruct.PLL.PLLM = 5;
  RCC_OscInitStruct.PLL.PLLN = 192;
  RCC_OscInitStruct.PLL.PLLP = 2;
  RCC_OscInitStruct.PLL.PLLQ = 15;
  RCC_OscInitStruct.PLL.PLLR = 2;
  RCC_OscInitStruct.PLL.PLLRGE = RCC_PLL1VCIRANGE_2;
  RCC_OscInitStruct.PLL.PLLVCOSEL = RCC_PLL1VCOWIDE;
  RCC_OscInitStruct.PLL.PLLFRACN = 0;
  if (HAL_RCC_OscConfig(&RCC_OscInitStruct) != HAL_OK)
  {
    Error_Handler();
  }

  /** Initializes the CPU, AHB and APB buses clocks
  */
  RCC_ClkInitStruct.ClockType = RCC_CLOCKTYPE_HCLK|RCC_CLOCKTYPE_SYSCLK
                              |RCC_CLOCKTYPE_PCLK1|RCC_CLOCKTYPE_PCLK2
                              |RCC_CLOCKTYPE_D3PCLK1|RCC_CLOCKTYPE_D1PCLK1;
  RCC_ClkInitStruct.SYSCLKSource = RCC_SYSCLKSOURCE_PLLCLK;
  RCC_ClkInitStruct.SYSCLKDivider = RCC_SYSCLK_DIV1;
  RCC_ClkInitStruct.AHBCLKDivider = RCC_HCLK_DIV2;
  RCC_ClkInitStruct.APB3CLKDivider = RCC_APB3_DIV2;
  RCC_ClkInitStruct.APB1CLKDivider = RCC_APB1_DIV2;
  RCC_ClkInitStruct.APB2CLKDivider = RCC_APB2_DIV2;
  RCC_ClkInitStruct.APB4CLKDivider = RCC_APB4_DIV2;

  if (HAL_RCC_ClockConfig(&RCC_ClkInitStruct, FLASH_LATENCY_4) != HAL_OK)
  {
    Error_Handler();
  }
}

void Error_Handler(void)
{
  /* USER CODE BEGIN Error_Handler_Debug */

	__disable_irq();
	ResetTag_Write(RST_TAG_ERRORH);
	NVIC_SystemReset();

	while (1) { }

  /* USER CODE END Error_Handler_Debug */
}
